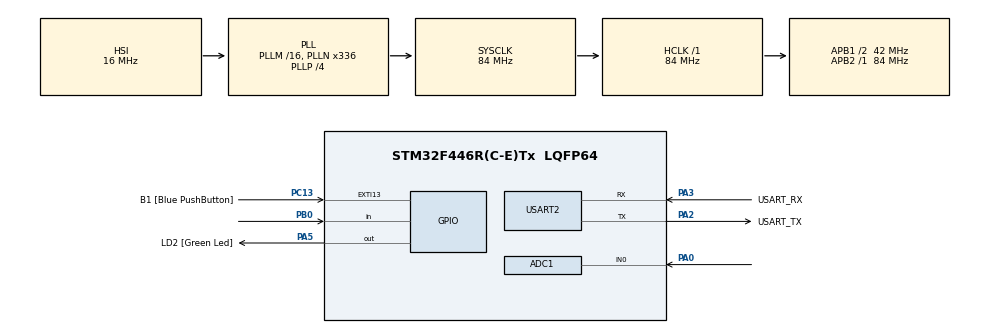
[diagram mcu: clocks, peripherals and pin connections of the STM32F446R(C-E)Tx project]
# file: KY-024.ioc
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ADC1.Channel-0\#ChannelRegularConversion=ADC_CHANNEL_0
ADC1.NbrOfConversionFlag=1
ADC1.Rank-0\#ChannelRegularConversion=1
ADC1.SamplingTime-0\#ChannelRegularConversion=ADC_SAMPLETIME_3CYCLES
ADC1.master=1
Mcu.Family=STM32F4
Mcu.Name=STM32F446R(C-E)Tx
Mcu.Package=LQFP64
NVIC.EXTI15_10_IRQn=true\:0\:0\:false\:false\:true\:true\:true\:true
NVIC.PriorityGroup=NVIC_PRIORITYGROUP_0
PA0-WKUP.Signal=ADCx_IN0
PA13.GPIO_Label=TMS
PA13.Mode=Serial_Wire
PA13.Signal=SYS_JTMS-SWDIO
PA14.GPIO_Label=TCK
PA14.Mode=Serial_Wire
PA14.Signal=SYS_JTCK-SWCLK
PA2.GPIO_Label=USART_TX
PA2.Mode=Asynchronous
PA2.Signal=USART2_TX
PA3.GPIO_Label=USART_RX
PA3.Mode=Asynchronous
PA3.Signal=USART2_RX
PA5.GPIO_Label=LD2 [Green Led]
PA5.Signal=GPIO_Output
PB0.GPIO_PuPd=GPIO_NOPULL
PB0.Signal=GPIO_Input
PB3.GPIO_Label=SWO
PB3.Signal=SYS_JTDO-SWO
PC13.GPIO_Label=B1 [Blue PushButton]
PC13.GPIO_ModeDefaultEXTI=GPIO_MODE_IT_FALLING
PC13.Signal=GPXTI13
PC14-OSC32_IN.Mode=LSE-External-Oscillator
PC14-OSC32_IN.Signal=RCC_OSC32_IN
PC15-OSC32_OUT.Mode=LSE-External-Oscillator
PC15-OSC32_OUT.Signal=RCC_OSC32_OUT
PH0-OSC_IN.Mode=HSE-External-Oscillator
PH0-OSC_IN.Signal=RCC_OSC_IN
PH1-OSC_OUT.Mode=HSE-External-Oscillator
PH1-OSC_OUT.Signal=RCC_OSC_OUT
ProjectManager.HeapSize=0x200
ProjectManager.StackSize=0x400
ProjectManager.TargetToolchain=STM32CubeIDE
RCC.48MHZClocksFreq_Value=84000000
RCC.AHBFreq_Value=84000000
RCC.APB1CLKDivider=RCC_HCLK_DIV2
RCC.APB1Freq_Value=42000000
RCC.APB1TimFreq_Value=84000000
RCC.APB2Freq_Value=84000000
RCC.APB2TimFreq_Value=84000000
RCC.CortexFreq_Value=84000000
RCC.FLatency-AdvancedSettings=FLASH_LATENCY_2
RCC.HCLKFreq_Value=84000000
RCC.HSE_VALUE=8000000
RCC.HSI_VALUE=16000000
RCC.PLLN=336
RCC.PLLP=RCC_PLLP_DIV4
RCC.SYSCLKFreq_VALUE=84000000
RCC.SYSCLKSource=RCC_SYSCLKSOURCE_PLLCLK
RCC.USBFreq_Value=168000000
RCC.VCOOutputFreq_Value=336000000
SH.ADCx_IN0.0=ADC1_IN0,IN0
USART2.VirtualMode=VM_ASYNC
board=NUCLEO-F446RE

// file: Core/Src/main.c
/* USER CODE BEGIN Header */
/**
  ******************************************************************************
  * @file           : main.c
  * @brief          : Main program body
  ******************************************************************************
  * @attention
  *
  * Copyright (c) 2025 STMicroelectronics.
  * All rights reserved.
  *
  * This software is licensed under terms that can be found in the LICENSE file
  * in the root directory of this software component.
  * If no LICENSE file comes with this software, it is provided AS-IS.
  *
  ******************************************************************************
  */
/* USER CODE END Header */
#include "main.h"

/* USER CODE BEGIN Includes */
#include <stdio.h>
/* USER CODE END Includes */

ADC_HandleTypeDef hadc1;

UART_HandleTypeDef huart2;

void SystemClock_Config(void);
static void MX_GPIO_Init(void);
static void MX_USART2_UART_Init(void);
static void MX_ADC1_Init(void);

int main(void)
{

  /* MCU Configuration--------------------------------------------------------*/

  /* Reset of all peripherals, Initializes the Flash interface and the Systick. */
  HAL_Init();

  /* Configure the system clock */
  SystemClock_Config();

  /* Initialize all configured peripherals */
  MX_GPIO_Init();
  MX_USART2_UART_Init();
  MX_ADC1_Init();
  /* USER CODE BEGIN 2 */
  uint32_t adcValue;
  float voltage;
  /* USER CODE END 2 */

  /* Infinite loop */
  /* USER CODE BEGIN WHILE */
  while (1)
  {
	  // Read Analog output from KY-024
	     HAL_ADC_Start(&hadc1);
	     HAL_ADC_PollForConversion(&hadc1, HAL_MAX_DELAY);
	     adcValue = HAL_ADC_GetValue(&hadc1);

	     // Convert to voltage (assuming 12-bit ADC and 3.3V ref)
	     voltage = (adcValue * 3.3) / 4095.0;

	     // Print ADC value and voltage
	     printf( "ADC: %lu, Voltage: %.2f V\r\n", adcValue, voltage);

	     // Read Digital Output
	     if (HAL_GPIO_ReadPin(GPIOB, GPIO_PIN_0) == GPIO_PIN_RESET)
	     {
	       printf( "Magnet NOT detected\r\n");

	     }
	     else
	     {
	       printf( "Magnet DETECTED!\r\n");

	     }

	     HAL_Delay(500);
    /* USER CODE END WHILE */

  }
}

void SystemClock_Config(void)
{
  RCC_OscInitTypeDef RCC_OscInitStruct = {0};
  RCC_ClkInitTypeDef RCC_ClkInitStruct = {0};

  /** Configure the main internal regulator output voltage
  */
  __HAL_RCC_PWR_CLK_ENABLE();
  __HAL_PWR_VOLTAGESCALING_CONFIG(PWR_REGULATOR_VOLTAGE_SCALE3);

  /** Initializes the RCC Oscillators according to the specified parameters
  * in the RCC_OscInitTypeDef structure.
  */
  RCC_OscInitStruct.OscillatorType = RCC_OSCILLATORTYPE_HSI;
  RCC_OscInitStruct.HSIState = RCC_HSI_ON;
  RCC_OscInitStruct.HSICalibrationValue = RCC_HSICALIBRATION_DEFAULT;
  RCC_OscInitStruct.PLL.PLLState = RCC_PLL_ON;
  RCC_OscInitStruct.PLL.PLLSource = RCC_PLLSOURCE_HSI;
  RCC_OscInitStruct.PLL.PLLM = 16;
  RCC_OscInitStruct.PLL.PLLN = 336;
  RCC_OscInitStruct.PLL.PLLP = RCC_PLLP_DIV4;
  RCC_OscInitStruct.PLL.PLLQ = 2;
  RCC_OscInitStruct.PLL.PLLR = 2;
  if (HAL_RCC_OscConfig(&RCC_OscInitStruct) != HAL_OK)
  {
    Error_Handler();
  }

  /** Initializes the CPU, AHB and APB buses clocks
  */
  RCC_ClkInitStruct.ClockType = RCC_CLOCKTYPE_HCLK|RCC_CLOCKTYPE_SYSCLK
                              |RCC_CLOCKTYPE_PCLK1|RCC_CLOCKTYPE_PCLK2;
  RCC_ClkInitStruct.SYSCLKSource = RCC_SYSCLKSOURCE_PLLCLK;
  RCC_ClkInitStruct.AHBCLKDivider = RCC_SYSCLK_DIV1;
  RCC_ClkInitStruct.APB1CLKDivider = RCC_HCLK_DIV2;
  RCC_ClkInitStruct.APB2CLKDivider = RCC_HCLK_DIV1;

  if (HAL_RCC_ClockConfig(&RCC_ClkInitStruct, FLASH_LATENCY_2) != HAL_OK)
  {
    Error_Handler();
  }
}

static void MX_ADC1_Init(void)
{

  ADC_ChannelConfTypeDef sConfig = {0};

  /** Configure the global features of the ADC (Clock, Resolution, Data Alignment and number of conversion)
  */
  hadc1.Instance = ADC1;
  hadc1.Init.ClockPrescaler = ADC_CLOCK_SYNC_PCLK_DIV4;
  hadc1.Init.Resolution = ADC_RESOLUTION_12B;
  hadc1.Init.ScanConvMode = DISABLE;
  hadc1.Init.ContinuousConvMode = DISABLE;
  hadc1.Init.DiscontinuousConvMode = DISABLE;
  hadc1.Init.ExternalTrigConvEdge = ADC_EXTERNALTRIGCONVEDGE_NONE;
  hadc1.Init.ExternalTrigConv = ADC_SOFTWARE_START;
  hadc1.Init.DataAlign = ADC_DATAALIGN_RIGHT;
  hadc1.Init.NbrOfConversion = 1;
  hadc1.Init.DMAContinuousRequests = DISABLE;
  hadc1.Init.EOCSelection = ADC_EOC_SINGLE_CONV;
  if (HAL_ADC_Init(&hadc1) != HAL_OK)
  {
    Error_Handler();
  }

  /** Configure for the selected ADC regular channel its corresponding rank in the sequencer and its sample time.
  */
  sConfig.Channel = ADC_CHANNEL_0;
  sConfig.Rank = 1;
  sConfig.SamplingTime = ADC_SAMPLETIME_3CYCLES;
  if (HAL_ADC_ConfigChannel(&hadc1, &sConfig) != HAL_OK)
  {
    Error_Handler();
  }

}

static void MX_USART2_UART_Init(void)
{

  huart2.Instance = USART2;
  huart2.Init.BaudRate = 115200;
  huart2.Init.WordLength = UART_WORDLENGTH_8B;
  huart2.Init.StopBits = UART_STOPBITS_1;
  huart2.Init.Parity = UART_PARITY_NONE;
  huart2.Init.Mode = UART_MODE_TX_RX;
  huart2.Init.HwFlowCtl = UART_HWCONTROL_NONE;
  huart2.Init.OverSampling = UART_OVERSAMPLING_16;
  if (HAL_UART_Init(&huart2) != HAL_OK)
  {
    Error_Handler();
  }

}

static void MX_GPIO_Init(void)
{
  GPIO_InitTypeDef GPIO_InitStruct = {0};

  /* GPIO Ports Clock Enable */
  __HAL_RCC_GPIOC_CLK_ENABLE();
  __HAL_RCC_GPIOH_CLK_ENABLE();
  __HAL_RCC_GPIOA_CLK_ENABLE();
  __HAL_RCC_GPIOB_CLK_ENABLE();

  /*Configure GPIO pin Output Level */
  HAL_GPIO_WritePin(LD2_GPIO_Port, LD2_Pin, GPIO_PIN_RESET);

  /*Configure GPIO pin : B1_Pin */
  GPIO_InitStruct.Pin = B1_Pin;
  GPIO_InitStruct.Mode = GPIO_MODE_IT_FALLING;
  GPIO_InitStruct.Pull = GPIO_NOPULL;
  HAL_GPIO_Init(B1_GPIO_Port, &GPIO_InitStruct);

  /*Configure GPIO pin : LD2_Pin */
  GPIO_InitStruct.Pin = LD2_Pin;
  GPIO_InitStruct.Mode = GPIO_MODE_OUTPUT_PP;
  GPIO_InitStruct.Pull = GPIO_NOPULL;
  GPIO_InitStruct.Speed = GPIO_SPEED_FREQ_LOW;
  HAL_GPIO_Init(LD2_GPIO_Port, &GPIO_InitStruct);

  /*Configure GPIO pin : PB0 */
  GPIO_InitStruct.Pin = GPIO_PIN_0;
  GPIO_InitStruct.Mode = GPIO_MODE_INPUT;
  GPIO_InitStruct.Pull = GPIO_NOPULL;
  HAL_GPIO_Init(GPIOB, &GPIO_InitStruct);

  /* EXTI interrupt init*/
  HAL_NVIC_SetPriority(EXTI15_10_IRQn, 0, 0);
  HAL_NVIC_EnableIRQ(EXTI15_10_IRQn);

}

/* USER CODE BEGIN 4 */
int _write(int file, char *ptr, int len)
{
(void)file;
int DataIdx;

for (DataIdx = 0; DataIdx < len; DataIdx++)
{
  ITM_SendChar(*ptr++);
}
return len;
}
/* USER CODE END 4 */

void Error_Handler(void)
{
  __disable_irq();
  while (1)
  {
  }
}
